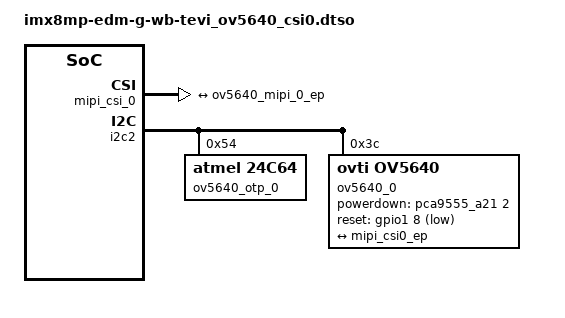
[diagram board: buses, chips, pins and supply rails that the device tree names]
// SPDX-License-Identifier: (GPL-2.0+ OR MIT)
/*
 * Copyright 2020 TechNexion Ltd.
 *
 * Author: Richard Hu <richard.hu@technexion.com>
 *         Ray Chang <ray.chang@technexion.com>
 *
 */

/dts-v1/;
/plugin/;

#include <dt-bindings/clock/imx8mp-clock.h>
#include <dt-bindings/gpio/gpio.h>

/ {
	fragment@0 {
		target = <&mipi_csi_0>;
		__overlay__ {
			#address-cells = <1>;
			#size-cells = <0>;
			status = "okay";

			ports {
				#address-cells = <1>;
				#size-cells = <0>;
				port@0 {
					reg = <0>;
					mipi_csi0_ep: endpoint {
						remote-endpoint = <&ov5640_mipi_0_ep>;
						clock-lanes = <0>;
						data-lanes = <1 2>;
					};
				};
			};
		};
	};

	fragment@1 {
		target = <&mipi_csi_1>;
		__overlay__ {
			#address-cells = <1>;
			#size-cells = <0>;
			status = "ko";
		};
	};

	fragment@2 {
		target = <&i2c2>;
		__overlay__ {
			#address-cells = <1>;
			#size-cells = <0>;

			ov5640_otp_0: eeprom@54 {
				compatible = "atmel,24c64";
				reg = <0x54>;
				//read-only;
			};

			ov5640_0: ov5640_mipi@3c {
				compatible = "ovti,ov5640";
				reg = <0x3c>;
				pinctrl-names = "default";
				pinctrl-0 = <&pinctrl_csi0_pwn>, <&pinctrl_csi0_rst>;
				clocks = <&clk IMX8MP_CLK_IPP_DO_CLKO1>;
				clock-names = "xclk";
				assigned-clocks = <&clk IMX8MP_CLK_IPP_DO_CLKO1>;
				assigned-clock-parents = <&clk IMX8MP_CLK_24M>;
				assigned-clock-rates = <24000000>;
				powerdown-gpios = <&pca9555_a21 2 GPIO_ACTIVE_HIGH>;
				reset-gpios = <&gpio1 8 GPIO_ACTIVE_LOW>;

				nvmem = <&ov5640_otp_0>;
				nvmem-names = "calib-data";
				status = "okay";

				port {
					ov5640_mipi_0_ep: endpoint {
						remote-endpoint = <&mipi_csi0_ep>;
						clock-lanes = <0>;
						data-lanes = <1 2>;
					};
				};
			};
		};
	};
};
